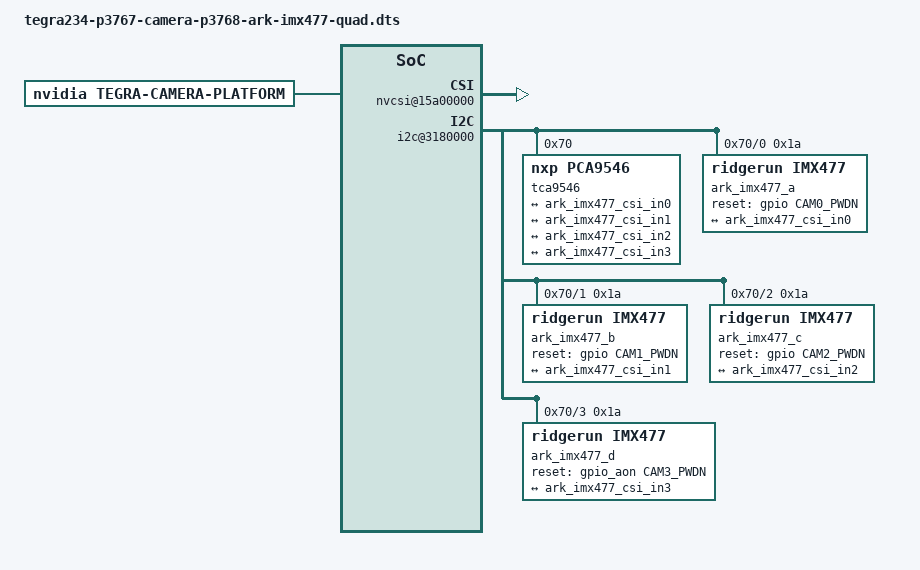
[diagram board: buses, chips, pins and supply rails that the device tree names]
// SPDX-License-Identifier: GPL-2.0-only
// SPDX-FileCopyrightText: Copyright (c) 2023-2024, NVIDIA CORPORATION & AFFILIATES. All rights reserved.
//
// IMX477 (Raspberry Pi HQ / Arducam 12MP) 4-camera overlay for the ARK p3768
// carrier (4x2-lane CSI). Carrier wiring (TCA9546 mux, per-port CAM reset and
// lane polarity) mirrors the IMX219/IMX708 quads; sensor nodes and modes come
// from the stock ridgerun,imx477 driver. Two 10-bit modes per camera:
// 3840x2160 @ 30 fps and 1920x1080 @ 60 fps.

/dts-v1/;
/plugin/;

#define CAM0_PWDN	TEGRA234_MAIN_GPIO(H, 6)
#define CAM1_PWDN	TEGRA234_MAIN_GPIO(AC, 0)
#define CAM2_PWDN	TEGRA234_MAIN_GPIO(Y, 4)
#define CAM3_PWDN	TEGRA234_AON_GPIO(CC, 3)
#define CAMERA_I2C_MUX_BUS(x) (0x1E + x)

#include <dt-bindings/tegra234-p3767-0000-common.h>

/ {
	overlay-name = "Camera ARK IMX477 Quad";
	jetson-header-name = "Jetson 22pin CSI Connector";
	compatible = JETSON_COMPATIBLE_P3768;

	fragment-camera@0 {
		target-path = "/";
		__overlay__ {
			tegra-capture-vi {
				num-channels = <4>;
				ports {
					#address-cells = <1>;
					#size-cells = <0>;
					port@0 {
						reg = <0>;
						ark_imx477_vi_in0: endpoint {
							port-index = <0>;
							bus-width = <2>;
							remote-endpoint = <&ark_imx477_csi_out0>;
						};
					};
					port@1 {
						reg = <1>;
						ark_imx477_vi_in1: endpoint {
							port-index = <1>;
							bus-width = <2>;
							remote-endpoint = <&ark_imx477_csi_out1>;
						};
					};
					port@2 {
						reg = <2>;
						ark_imx477_vi_in2: endpoint {
							port-index = <2>;
							bus-width = <2>;
							remote-endpoint = <&ark_imx477_csi_out2>;
						};
					};
					port@3 {
						reg = <3>;
						ark_imx477_vi_in3: endpoint {
							port-index = <3>;
							bus-width = <2>;
							remote-endpoint = <&ark_imx477_csi_out3>;
						};
					};
				};
			};
			tegra-camera-platform {
				compatible = "nvidia, tegra-camera-platform";
				num_csi_lanes = <8>;
				max_lane_speed = <1500000>;	/* imx477 10-bit/2-lane at 300 MHz pix clk = 1.5 Gbps per lane */
				min_bits_per_pixel = <10>;
				vi_peak_byte_per_pixel = <2>;
				vi_bw_margin_pct = <25>;
				max_pixel_rate = <240000>;
				isp_peak_byte_per_pixel = <5>;
				isp_bw_margin_pct = <25>;
				modules {
					module0 {
						badge = "ark_imx477_bottomleft_IMX477";
						position = "bottomleft";
						orientation = "0";
						drivernode0 {
							pcl_id = "v4l2_sensor";
							sysfs-device-tree = "/sys/firmware/devicetree/base/bus@0/i2c@3180000/tca9546@70/i2c@0/ark_imx477_a@1a";
						};
					};
					module1 {
						badge = "ark_imx477_bottomright_IMX477";
						position = "bottomright";
						orientation = "1";
						drivernode0 {
							pcl_id = "v4l2_sensor";
							sysfs-device-tree = "/sys/firmware/devicetree/base/bus@0/i2c@3180000/tca9546@70/i2c@1/ark_imx477_b@1a";
						};
					};
					module2 {
						badge = "ark_imx477_centerleft_IMX477";
						position = "centerleft";
						orientation = "2";
						drivernode0 {
							pcl_id = "v4l2_sensor";
							sysfs-device-tree = "/sys/firmware/devicetree/base/bus@0/i2c@3180000/tca9546@70/i2c@2/ark_imx477_c@1a";
						};
					};
					module3 {
						badge = "ark_imx477_centerright_IMX477";
						position = "centerright";
						orientation = "3";
						drivernode0 {
							pcl_id = "v4l2_sensor";
							sysfs-device-tree = "/sys/firmware/devicetree/base/bus@0/i2c@3180000/tca9546@70/i2c@3/ark_imx477_d@1a";
						};
					};
				};
			};
			bus@0 {
				host1x@13e00000 {
					nvcsi@15a00000 {
						num-channels = <4>;
						#address-cells = <1>;
						#size-cells = <0>;
						status = "okay";
						channel@0 {
							reg = <0>;
							ports {
								#address-cells = <1>;
								#size-cells = <0>;
								port@0 {
									reg = <0>;
									ark_imx477_csi_in0: endpoint@0 {
										port-index = <0>;
										bus-width = <2>;
										remote-endpoint = <&ark_imx477_out0>;
									};
								};
								port@1 {
									reg = <1>;
									ark_imx477_csi_out0: endpoint@1 {
										remote-endpoint = <&ark_imx477_vi_in0>;
									};
								};
							};
						};
						channel@1 {
							reg = <1>;
							ports {
								#address-cells = <1>;
								#size-cells = <0>;
								port@0 {
									reg = <0>;
									ark_imx477_csi_in1: endpoint@2 {
										port-index = <1>;
										bus-width = <2>;
										remote-endpoint = <&ark_imx477_out1>;
									};
								};
								port@1 {
									reg = <1>;
									ark_imx477_csi_out1: endpoint@3 {
										remote-endpoint = <&ark_imx477_vi_in1>;
									};
								};
							};
						};
						channel@2 {
							reg = <2>;
							ports {
								#address-cells = <1>;
								#size-cells = <0>;
								port@0 {
									reg = <0>;
									ark_imx477_csi_in2: endpoint@4 {
										port-index = <2>;
										bus-width = <2>;
										remote-endpoint = <&ark_imx477_out2>;
									};
								};
								port@1 {
									reg = <1>;
									ark_imx477_csi_out2: endpoint@5 {
										remote-endpoint = <&ark_imx477_vi_in2>;
									};
								};
							};
						};
						channel@3 {
							reg = <3>;
							ports {
								#address-cells = <1>;
								#size-cells = <0>;
								port@0 {
									reg = <0>;
									ark_imx477_csi_in3: endpoint@6 {
										port-index = <3>;
										bus-width = <2>;
										remote-endpoint = <&ark_imx477_out3>;
									};
								};
								port@1 {
									reg = <1>;
									ark_imx477_csi_out3: endpoint@7 {
										remote-endpoint = <&ark_imx477_vi_in3>;
									};
								};
							};
						};
					};
				};
				i2c@3180000 {
					#address-cells = <1>;
					#size-cells = <0>;
					tca9546@70 {
						status = "okay";
						compatible = "nxp,pca9546";
						#address-cells = <1>;
						#size-cells = <0>;
						reg = <0x70>;
						i2c-parent = <&cam_i2c>;
						skip_mux_detect = "yes";
						force_bus_start = <CAMERA_I2C_MUX_BUS(0)>;
						i2c@0 {
							reg = <0>;
							#address-cells = <1>;
							#size-cells = <0>;
							i2c-mux,deselect-on-exit;
							status = "okay";

							/* Disable the baked-default IMX219 quad on the shared TCA9546 buses so only IMX477 is active. */
							ark_imx219_a@10 {
								status = "disabled";
							};

							ark_imx477_a@1a {
								status = "okay";
								reset-gpios = <&gpio CAM0_PWDN GPIO_ACTIVE_HIGH>;
								compatible = "ridgerun,imx477";
								reg = <0x1a>;
								devnode = "video0";
								physical_w = "3.680";
								physical_h = "2.760";
								sensor_model = "imx477";
								use_sensor_mode_id = "true";

								mode0 { /* IMX477_MODE_3840x2160 */
									mclk_khz = "24000";
									num_lanes = "2";
									tegra_sinterface = "serial_a";
									phy_mode = "DPHY";
									discontinuous_clk = "no";
									dpcm_enable = "false";
									cil_settletime = "0";
									lane_polarity = "6";
									active_w = "3840";
									active_h = "2160";
									mode_type = "bayer";
									pixel_phase = "rggb";
									csi_pixel_bit_depth = "10";
									readout_orientation = "90";
									line_length = "11200";
									inherent_gain = "1";
									mclk_multiplier = "80";
									pix_clk_hz = "300000000";
									gain_factor = "16";
									framerate_factor = "1000000";
									exposure_factor = "1000000";
									min_gain_val = "16"; /* 1.00x */
									max_gain_val = "356"; /* 22x */
									step_gain_val = "1";
									default_gain = "16"; /* 1.00x */
									min_hdr_ratio = "1";
									max_hdr_ratio = "1";
									min_framerate = "2000000"; /* 2.0 fps */
									max_framerate = "30000000"; /* 30.0 fps */
									step_framerate = "1";
									default_framerate = "30000000"; /* 30.0 fps */
									min_exp_time = "13"; /* us */
									max_exp_time = "683709"; /* us */
									step_exp_time = "1";
									default_exp_time = "2495"; /* us */
									embedded_metadata_height = "2";
								};
								mode1 { /* IMX477_MODE_1920X1080 */
									mclk_khz = "24000";
									num_lanes = "2";
									tegra_sinterface = "serial_a";
									phy_mode = "DPHY";
									discontinuous_clk = "no";
									dpcm_enable = "false";
									cil_settletime = "0";
									lane_polarity = "6";
									active_w = "1920";
									active_h = "1080";
									mode_type = "bayer";
									pixel_phase = "rggb";
									csi_pixel_bit_depth = "10";
									readout_orientation = "90";
									line_length = "7000";
									inherent_gain = "1";
									mclk_multiplier = "80";
									pix_clk_hz = "300000000";
									gain_factor = "16";
									framerate_factor = "1000000";
									exposure_factor = "1000000";
									min_gain_val = "16"; /* 1.00x */
									max_gain_val = "356"; /* 22x */
									step_gain_val = "1";
									default_gain = "16"; /* 1.00x */
									min_hdr_ratio = "1";
									max_hdr_ratio = "1";
									min_framerate = "2000000"; /* 2.0 fps */
									max_framerate = "60000000"; /* 60.0 fps */
									step_framerate = "1";
									default_framerate = "60000000"; /* 60.0 fps */
									min_exp_time = "13"; /* us */
									max_exp_time = "683709"; /* us */
									step_exp_time = "1";
									default_exp_time = "2495"; /* us */
									embedded_metadata_height = "2";
								};

								ports {
									#address-cells = <1>;
									#size-cells = <0>;
									port@0 {
										reg = <0>;
										ark_imx477_out0: endpoint {
											status = "okay";
											port-index = <0>;
											bus-width = <2>;
											remote-endpoint = <&ark_imx477_csi_in0>;
										};
									};
								};
							};
						};
						i2c@1 {
							reg = <1>;
							#address-cells = <1>;
							#size-cells = <0>;
							i2c-mux,deselect-on-exit;
							status = "okay";

							ark_imx219_b@10 {
								status = "disabled";
							};

							ark_imx477_b@1a {
								status = "okay";
								reset-gpios = <&gpio CAM1_PWDN GPIO_ACTIVE_HIGH>;
								compatible = "ridgerun,imx477";
								reg = <0x1a>;
								devnode = "video1";
								physical_w = "3.680";
								physical_h = "2.760";
								sensor_model = "imx477";
								use_sensor_mode_id = "true";

								mode0 { /* IMX477_MODE_3840x2160 */
									mclk_khz = "24000";
									num_lanes = "2";
									tegra_sinterface = "serial_b";
									phy_mode = "DPHY";
									discontinuous_clk = "no";
									dpcm_enable = "false";
									cil_settletime = "0";
									lane_polarity = "6";
									active_w = "3840";
									active_h = "2160";
									mode_type = "bayer";
									pixel_phase = "rggb";
									csi_pixel_bit_depth = "10";
									readout_orientation = "90";
									line_length = "11200";
									inherent_gain = "1";
									mclk_multiplier = "80";
									pix_clk_hz = "300000000";
									gain_factor = "16";
									framerate_factor = "1000000";
									exposure_factor = "1000000";
									min_gain_val = "16"; /* 1.00x */
									max_gain_val = "356"; /* 22x */
									step_gain_val = "1";
									default_gain = "16"; /* 1.00x */
									min_hdr_ratio = "1";
									max_hdr_ratio = "1";
									min_framerate = "2000000"; /* 2.0 fps */
									max_framerate = "30000000"; /* 30.0 fps */
									step_framerate = "1";
									default_framerate = "30000000"; /* 30.0 fps */
									min_exp_time = "13"; /* us */
									max_exp_time = "683709"; /* us */
									step_exp_time = "1";
									default_exp_time = "2495"; /* us */
									embedded_metadata_height = "2";
								};
								mode1 { /* IMX477_MODE_1920X1080 */
									mclk_khz = "24000";
									num_lanes = "2";
									tegra_sinterface = "serial_b";
									phy_mode = "DPHY";
									discontinuous_clk = "no";
									dpcm_enable = "false";
									cil_settletime = "0";
									lane_polarity = "6";
									active_w = "1920";
									active_h = "1080";
									mode_type = "bayer";
									pixel_phase = "rggb";
									csi_pixel_bit_depth = "10";
									readout_orientation = "90";
									line_length = "7000";
									inherent_gain = "1";
									mclk_multiplier = "80";
									pix_clk_hz = "300000000";
									gain_factor = "16";
									framerate_factor = "1000000";
									exposure_factor = "1000000";
									min_gain_val = "16"; /* 1.00x */
									max_gain_val = "356"; /* 22x */
									step_gain_val = "1";
									default_gain = "16"; /* 1.00x */
									min_hdr_ratio = "1";
									max_hdr_ratio = "1";
									min_framerate = "2000000"; /* 2.0 fps */
									max_framerate = "60000000"; /* 60.0 fps */
									step_framerate = "1";
									default_framerate = "60000000"; /* 60.0 fps */
									min_exp_time = "13"; /* us */
									max_exp_time = "683709"; /* us */
									step_exp_time = "1";
									default_exp_time = "2495"; /* us */
									embedded_metadata_height = "2";
								};

								ports {
									#address-cells = <1>;
									#size-cells = <0>;
									port@0 {
										reg = <0>;
										ark_imx477_out1: endpoint {
											status = "okay";
											port-index = <1>;
											bus-width = <2>;
											remote-endpoint = <&ark_imx477_csi_in1>;
										};
									};
								};
							};
						};
						i2c@2 {
							reg = <2>;
							#address-cells = <1>;
							#size-cells = <0>;
							i2c-mux,deselect-on-exit;
							status = "okay";

							ark_imx219_c@10 {
								status = "disabled";
							};

							ark_imx477_c@1a {
								status = "okay";
								reset-gpios = <&gpio CAM2_PWDN GPIO_ACTIVE_HIGH>;
								compatible = "ridgerun,imx477";
								reg = <0x1a>;
								devnode = "video2";
								physical_w = "3.680";
								physical_h = "2.760";
								sensor_model = "imx477";
								use_sensor_mode_id = "true";

								mode0 { /* IMX477_MODE_3840x2160 */
									mclk_khz = "24000";
									num_lanes = "2";
									tegra_sinterface = "serial_c";
									phy_mode = "DPHY";
									discontinuous_clk = "no";
									dpcm_enable = "false";
									cil_settletime = "0";
									lane_polarity = "0";
									active_w = "3840";
									active_h = "2160";
									mode_type = "bayer";
									pixel_phase = "rggb";
									csi_pixel_bit_depth = "10";
									readout_orientation = "90";
									line_length = "11200";
									inherent_gain = "1";
									mclk_multiplier = "80";
									pix_clk_hz = "300000000";
									gain_factor = "16";
									framerate_factor = "1000000";
									exposure_factor = "1000000";
									min_gain_val = "16"; /* 1.00x */
									max_gain_val = "356"; /* 22x */
									step_gain_val = "1";
									default_gain = "16"; /* 1.00x */
									min_hdr_ratio = "1";
									max_hdr_ratio = "1";
									min_framerate = "2000000"; /* 2.0 fps */
									max_framerate = "30000000"; /* 30.0 fps */
									step_framerate = "1";
									default_framerate = "30000000"; /* 30.0 fps */
									min_exp_time = "13"; /* us */
									max_exp_time = "683709"; /* us */
									step_exp_time = "1";
									default_exp_time = "2495"; /* us */
									embedded_metadata_height = "2";
								};
								mode1 { /* IMX477_MODE_1920X1080 */
									mclk_khz = "24000";
									num_lanes = "2";
									tegra_sinterface = "serial_c";
									phy_mode = "DPHY";
									discontinuous_clk = "no";
									dpcm_enable = "false";
									cil_settletime = "0";
									lane_polarity = "0";
									active_w = "1920";
									active_h = "1080";
									mode_type = "bayer";
									pixel_phase = "rggb";
									csi_pixel_bit_depth = "10";
									readout_orientation = "90";
									line_length = "7000";
									inherent_gain = "1";
									mclk_multiplier = "80";
									pix_clk_hz = "300000000";
									gain_factor = "16";
									framerate_factor = "1000000";
									exposure_factor = "1000000";
									min_gain_val = "16"; /* 1.00x */
									max_gain_val = "356"; /* 22x */
									step_gain_val = "1";
									default_gain = "16"; /* 1.00x */
									min_hdr_ratio = "1";
									max_hdr_ratio = "1";
									min_framerate = "2000000"; /* 2.0 fps */
									max_framerate = "60000000"; /* 60.0 fps */
									step_framerate = "1";
									default_framerate = "60000000"; /* 60.0 fps */
									min_exp_time = "13"; /* us */
									max_exp_time = "683709"; /* us */
									step_exp_time = "1";
									default_exp_time = "2495"; /* us */
									embedded_metadata_height = "2";
								};

								ports {
									#address-cells = <1>;
									#size-cells = <0>;
									port@0 {
										reg = <0>;
										ark_imx477_out2: endpoint {
											status = "okay";
											port-index = <2>;
											bus-width = <2>;
											remote-endpoint = <&ark_imx477_csi_in2>;
										};
									};
								};
							};
						};
						i2c@3 {
							reg = <3>;
							#address-cells = <1>;
							#size-cells = <0>;
							i2c-mux,deselect-on-exit;
							status = "okay";

							ark_imx219_d@10 {
								status = "disabled";
							};

							ark_imx477_d@1a {
								status = "okay";
								reset-gpios = <&gpio_aon CAM3_PWDN GPIO_ACTIVE_HIGH>;
								compatible = "ridgerun,imx477";
								reg = <0x1a>;
								devnode = "video3";
								physical_w = "3.680";
								physical_h = "2.760";
								sensor_model = "imx477";
								use_sensor_mode_id = "true";

								mode0 { /* IMX477_MODE_3840x2160 */
									mclk_khz = "24000";
									num_lanes = "2";
									tegra_sinterface = "serial_d";
									phy_mode = "DPHY";
									discontinuous_clk = "no";
									dpcm_enable = "false";
									cil_settletime = "0";
									lane_polarity = "0";
									active_w = "3840";
									active_h = "2160";
									mode_type = "bayer";
									pixel_phase = "rggb";
									csi_pixel_bit_depth = "10";
									readout_orientation = "90";
									line_length = "11200";
									inherent_gain = "1";
									mclk_multiplier = "80";
									pix_clk_hz = "300000000";
									gain_factor = "16";
									framerate_factor = "1000000";
									exposure_factor = "1000000";
									min_gain_val = "16"; /* 1.00x */
									max_gain_val = "356"; /* 22x */
									step_gain_val = "1";
									default_gain = "16"; /* 1.00x */
									min_hdr_ratio = "1";
									max_hdr_ratio = "1";
									min_framerate = "2000000"; /* 2.0 fps */
									max_framerate = "30000000"; /* 30.0 fps */
									step_framerate = "1";
									default_framerate = "30000000"; /* 30.0 fps */
									min_exp_time = "13"; /* us */
									max_exp_time = "683709"; /* us */
									step_exp_time = "1";
									default_exp_time = "2495"; /* us */
									embedded_metadata_height = "2";
								};
								mode1 { /* IMX477_MODE_1920X1080 */
									mclk_khz = "24000";
									num_lanes = "2";
									tegra_sinterface = "serial_d";
									phy_mode = "DPHY";
									discontinuous_clk = "no";
									dpcm_enable = "false";
									cil_settletime = "0";
									lane_polarity = "0";
									active_w = "1920";
									active_h = "1080";
									mode_type = "bayer";
									pixel_phase = "rggb";
									csi_pixel_bit_depth = "10";
									readout_orientation = "90";
									line_length = "7000";
									inherent_gain = "1";
									mclk_multiplier = "80";
									pix_clk_hz = "300000000";
									gain_factor = "16";
									framerate_factor = "1000000";
									exposure_factor = "1000000";
									min_gain_val = "16"; /* 1.00x */
									max_gain_val = "356"; /* 22x */
									step_gain_val = "1";
									default_gain = "16"; /* 1.00x */
									min_hdr_ratio = "1";
									max_hdr_ratio = "1";
									min_framerate = "2000000"; /* 2.0 fps */
									max_framerate = "60000000"; /* 60.0 fps */
									step_framerate = "1";
									default_framerate = "60000000"; /* 60.0 fps */
									min_exp_time = "13"; /* us */
									max_exp_time = "683709"; /* us */
									step_exp_time = "1";
									default_exp_time = "2495"; /* us */
									embedded_metadata_height = "2";
								};

								ports {
									#address-cells = <1>;
									#size-cells = <0>;
									port@0 {
										reg = <0>;
										ark_imx477_out3: endpoint {
											status = "okay";
											port-index = <3>;
											bus-width = <2>;
											remote-endpoint = <&ark_imx477_csi_in3>;
										};
									};
								};
							};
						};
					};
				};
				gpio@2200000 {
					camera-control-output-high {
						gpios = <CAM0_PWDN 1 CAM1_PWDN 1 CAM2_PWDN 1 CAM3_PWDN 1>;
						label = "cam0-pwdn", "cam1-pwdn", "cam2-pwdn", "cam3-pwdn";
					};
				};
			};
		};
	};
};
